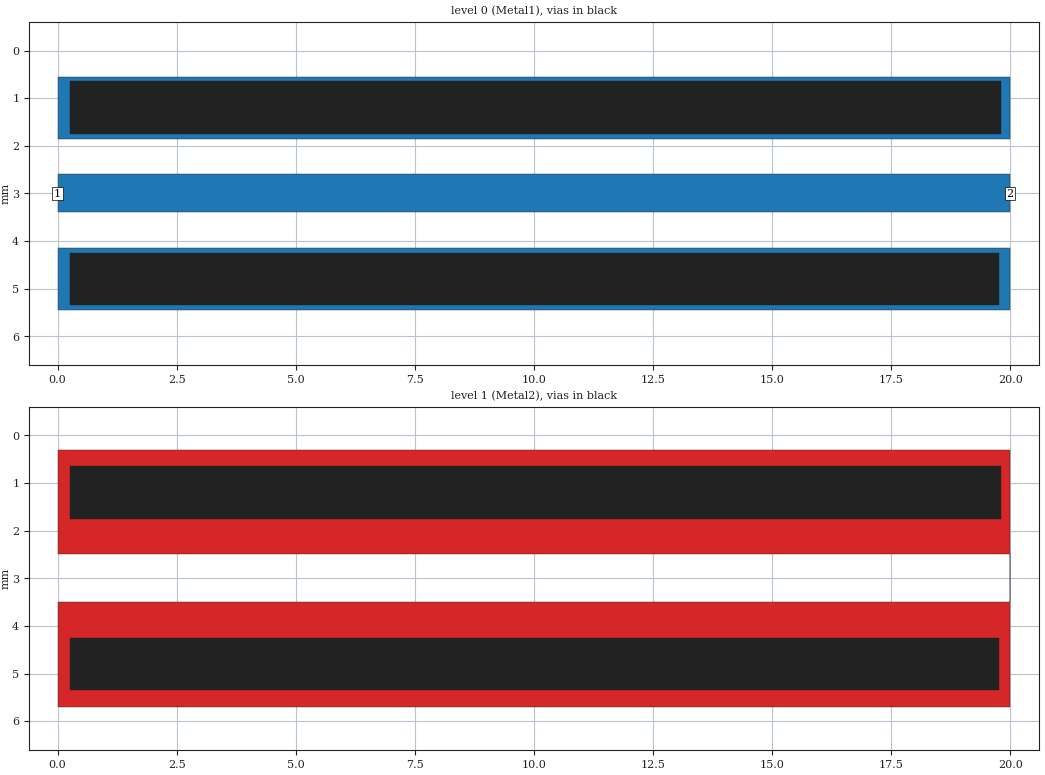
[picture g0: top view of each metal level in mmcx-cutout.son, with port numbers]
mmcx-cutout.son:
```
FTYP SONPROJ 17 ! Sonnet Project File
VER 17.52.2
HEADER
LIC antikernel2.1.48685 90e2ba8817c0 havequick azonenberg
DAT 06/01/2020 05:39:28
BUILT_BY_CREATED xgeom 16.56 07/03/2018 15:05:41
BUILT_BY_SAVED sonnet 17.52.2
MDATE 05/31/2020 14:00:10
HDATE 05/31/2020 14:00:10
END HEADER
DIM
ANG DEG
CAP PF
CON /OH
FREQ GHZ
IND NH
LNG MM
RES OH
END DIM
CONTROL
VARSWP
OPTIONS  -bdj
SPEED 1
CACHE_ABS 1
Q_ACC N
END CONTROL
GEO
SYM
TMET "Free Space" 0 FREESPACE 376.7303136 0 0 0
BMET "Lossless" 0 SUP 0 0 0 0
MET "Copper 1oz" 1 TMM 58000000 0.5 0.035 2
MET "Copper 0.5oz" 2 NOR 58000000 0.5 0.017 
BRI "Alumina (96%)" 0 9.4 0.0004 0 
BRI "Alumina (99.5%)" 0 9.9 0.0001 0 
BRI "Aluminum Nitride" 0 8.6 0.0003 0 
BRI "Arlon 25FR" 0 3.58 0.0035 0 
BRI "Arlon 25N" 0 3.38 0.0025 0 
BRI "Arlon AD5" 0 5.1 0.003 0 
BRI "Arlon AD10" 0 10.2 0.005 0 
BRI "Arlon AD250" 0 2.5 0.0018 0 
BRI "Arlon AD255A" 0 2.55 0.0015 0 
BRI "Arlon AD260A" 0 2.6 0.0018 0 
BRI "Arlon AD270" 0 2.7 0.0023 0 
BRI "Arlon AD300A" 0 3 0.002 0 
BRI "Arlon AD320A" 0 3.2 0.0032 0 
BRI "Arlon AD350A" 0 3.5 0.003 0 
BRI "Arlon AD410" 0 4.1 0.003 0 
BRI "Arlon AD430" 0 4.3 0.003 0 
BRI "Arlon AD450" 0 4.5 0.0035 0 
BRI "Arlon AD600" 0 6.15 0.003 0 
BRI "Arlon AD1000" 0 10.2 0.0023 0 
BRI "Arlon AR1000" 0 9.8 0.003 0 
BRI "Arlon CLTE" 0 2.96 0.0023 0 
BRI "Arlon CLTE-AT" 0 3 0.0013 0 
BRI "Arlon CLTE-P" 0 2.94 0.0025 0 
BRI "Arlon CLTE-XT" 0 2.94 0.0012 0 
BRI "Arlon Cu 217LX" 0 2.17 0.0009 0 
BRI "Arlon Cu 233LX" 0 2.33 0.0013 0 
BRI "Arlon Cu 250GT" 0 2.5 0.001 0 
BRI "Arlon Cu 250GX" 0 2.5 0.0018 0 
BRI "Arlon Cu 6250" 0 2.32 0.0013 0 
BRI "Arlon Cu 6700" 0 2.35 0.0025 0 
BRI "Arlon Di 522" 0 2.5 0.001 0 
BRI "Arlon Di 527" 0 2.5 0.0018 0 
BRI "Arlon Di 870" 0 2.33 0.0013 0 
BRI "Arlon Di 880" 0 2.17 0.0009 0 
BRI "Arlon Iso 917" 0 2.17 0.0013 0 
BRI "Arlon Iso 933" 0 2.33 0.0016 0 
BRI "Arlon Multi HF" 0 3.7 0.004 0 
BRI "Arlon TC350" 0 3.5 0.002 0 
BRI "Arlon TC600" 0 6.15 0.002 0 
BRI "Beryllia (99.5%)" 0 6.5 0.0004 0 
BRI "CEM-1" 0 4.5 0.02 0 
BRI "CEM-3" 0 4.5 0.02 0 
BRI "Dupont 9K7" 0 7.1 0.0012 0 
BRI "Dupont 943" 0 7.4 0.002 0 
BRI "Dupont 951" 0 7.8 0.006 0 
BRI "Dupont FEP" 0 2 0.0005 0 
BRI "Dupont Vacrel" 0 3.8 0.011 0 
BRI "ESL 41010" 0 7.5 0.005 0 
BRI "ESL 41020" 0 7.25 0.005 0 
BRI "ESL 41050" 0 13.5 0.002 0 
BRI "ESL 41060" 0 16.5 0.002 0 
BRI "ESL 41110" 0 4.5 0.004 0 
BRI "Ferro A6M" 0 5.9 0.002 0 
BRI "Ferro A6S" 0 5.9 0.002 0 
BRI "Ferro L8" 0 7.3 0.0018 0 
BRI "FR-4" 0 4.4 0.02 0 
BRI "G-10" 0 4.8 0.025 0 
BRI "Gallium Arsenide" 0 12.9 0.006 0 
BRI "Gallium Nitride" 0 9.7 0 0 
BRI "Glass (Pyrex)" 0 4.82 0.0054 0 
BRI "Heraeus HL2000" 0 7.3 0.0026 0 
BRI "Isola 370HR" 0 4.04 0.021 0 
BRI "Isola FR408" 0 3.77 0.0116 0 
BRI "Isola FR408HR" 0 3.68 0.0092 0 
BRI "Isola Getek" 0 3.6 0.01 0 
BRI "Isola GI-180" 0 3.7 0.013 0 
BRI "Isola IS415" 0 3.82 0.0125 0 
BRI "Isola IS620i" 0 3.58 0.006 0 
BRI "Isola IS680-280" 0 2.8 0.0025 0 
BRI "Isola IS680-300" 0 3 0.003 0 
BRI "Isola IS680-320" 0 3.2 0.003 0 
BRI "Isola IS680-333" 0 3.33 0.003 0 
BRI "Isola IS680-338" 0 3.38 0.0032 0 
BRI "Isola IS680-345" 0 3.45 0.0036 0 
BRI "Kerafol CT800" 0 5.3 0.008 0 
BRI "Nelco MW9350" 0 3.7 0.004 0 
BRI "Nelco N4000-12" 0 3.7 0.008 0 
BRI "Nelco N4000-13" 0 3.7 0.009 0 
BRI "Nelco N4000-13SI" 0 3.2 0.007 0 
BRI "Nelco N4000-13EP" 0 3.7 0.008 0 
BRI "Nelco N4350-13RF" 0 3.5 0.0065 0 
BRI "Nelco N4380-13RF" 0 3.8 0.007 0 
BRI "Nelco N9300-13RF" 0 3 0.004 0 
BRI "Nelco N9320-13RF" 0 3.2 0.0045 0 
BRI "Nelco N9338-13RF" 0 3.38 0.0046 0 
BRI "Nelco N9350-13RF" 0 3.48 0.0055 0 
BRI "Nelco NH9294" 0 2.94 0.0022 0 
BRI "Nelco NH9300" 0 3 0.0023 0 
BRI "Nelco NH9320" 0 3.2 0.0024 0 
BRI "Nelco NH9338" 0 3.38 0.0025 0 
BRI "Nelco NH9348" 0 3.48 0.003 0 
BRI "Nelco NH9350" 0 3.5 0.003 0 
BRI "Nelco NH9410" 0 4.1 0.003 0 
BRI "Nelco NH9450" 0 4.5 0.003 0 
BRI "Nelco NX9240" 0 2.4 0.0016 0 
BRI "Nelco NX9245" 0 2.45 0.0016 0 
BRI "Nelco NX9250" 0 2.5 0.0017 0 
BRI "Nelco NX9255" 0 2.55 0.0018 0 
BRI "Nelco NX9260" 0 2.6 0.0019 0 
BRI "Nelco NY9208" 0 2.08 0.0006 0 
BRI "Nelco NY9217" 0 2.17 0.0008 0 
BRI "Nelco NY9220" 0 2.2 0.0009 0 
BRI "Nelco NY9233" 0 2.33 0.0011 0 
BRI "PET" 0 3.37 0.0208 0 
BRI "Polyimide" 0 3.5 0.003 0 
BRI "Quartz (Fused)" 0 3.78 0.0001 0 
BRI "Rogers 3001" 0 2.28 0.003 0 
BRI "Rogers RO2808" 0 7.6 0.0015 0 
BRI "Rogers RO3003" 0 3 0.0013 0 
BRI "Rogers RO3006" 0 6.5 0.002 0 
BRI "Rogers RO3010" 0 11.2 0.0022 0 
BRI "Rogers RO3035" 0 3.6 0.0018 0 
BRI "Rogers RO3203" 0 3.02 0.0016 0 
BRI "Rogers RO3206" 0 6.6 0.0027 0 
BRI "Rogers RO3210" 0 10.8 0.0027 0 
BRI "Rogers RO3730" 0 3 0.0016 0 
BRI "Rogers RO4003C" 0 3.55 0.0029 0 
BRI "Rogers RO4533" 0 3.45 0.0029 0 
BRI "Rogers RO4534" 0 3.4 0.003 0 
BRI "Rogers RO4350B" 0 3.66 0.0037 0 
BRI "Rogers RO4350BTX" 0 3.66 0.0034 0 
BRI "Rogers RO4360" 0 6.15 0.0038 0 
BRI "Rogers RO4450B-3.6" 0 3.3 0.0043 0 
BRI "Rogers RO4450B-4" 0 3.54 0.004 0 
BRI "Rogers RO4450F" 0 3.52 0.0041 0 
BRI "Rogers RO4730" 0 3 0.0033 0 
BRI "Rogers RT5870" 0 2.33 0.0012 0 
BRI "Rogers RT5880" 0 2.2 0.0009 0 
BRI "Rogers RT5880LZ" 0 1.96 0.0019 0 
BRI "Rogers RT6002" 0 2.94 0.0012 0 
BRI "Rogers RT6006" 0 6.15 0.0027 0 
BRI "Rogers RT6010LM" 0 10.9 0.0023 0 
BRI "Rogers RT6035HTC" 0 3.6 0.0013 0 
BRI "Rogers RT6202" 0 2.94 0.0015 0 
BRI "Rogers RT6202PR" 0 2.95 0.0015 0 
BRI "Rogers Syron7000" 0 3.4 0.0045 0 
BRI "Rogers Syron7100-2" 0 3.61 0.006 0 
BRI "Rogers Syron7100-4" 0 3.39 0.005 0 
BRI "Rogers Theta" 0 4.01 0.0118 0 
BRI "Rogers TMM 3" 0 3.39 0.002 0 
BRI "Rogers TMM 4" 0 4.5 0.002 0 
BRI "Rogers TMM 6" 0 6 0.0023 0 
BRI "Rogers TMM 10" 0 9.56 0.0022 0 
BRI "Rogers TMM 10i" 0 9.96 0.002 0 
BRI "Rogers UL2000" 0 2.5 0.0019 0 
BRI "Rogers UL3850" 0 3.05 0.0025 0 
BRI "Rogers UL3908" 0 2.9 0.0025 0 
BRI "Rogers XT8000" 0 3.34 0.0035 0 
BRI "Rogers XT8100-2" 0 3.54 0.0049 0 
BRI "Rogers XT8100-4" 0 3.32 0.0038 0 
BRI "Silicon (intrinsic)" 0 11.9 0.004 0.00044 
BRI "Silicon Dioxide" 0 3.9 0 0 
BRI "Silicon Nitride" 0 7.5 0 0 
BRI "Taconic CER-10" 0 10 0.0035 0 
BRI "Taconic FastFilm" 0 2.7 0.0012 0 
BRI "Taconic Fastrise-DS" 0 2.96 0.0018 0 
BRI "Taconic Fastrise27" 0 2.7 0.0014 0 
BRI "Taconic Fastrise77" 0 7.7 0.0034 0 
BRI "Taconic FEP" 0 2 0.0003 0 
BRI "Taconic RF-30" 0 3 0.0014 0 
BRI "Taconic RF-35" 0 3.5 0.0018 0 
BRI "Taconic RF-35A2" 0 3.5 0.0011 0 
BRI "Taconic RF-35P" 0 3.5 0.0025 0 
BRI "Taconic RF-41" 0 4.1 0.0038 0 
BRI "Taconic RF-43" 0 4.3 0.0033 0 
BRI "Taconic RF-45" 0 4.5 0.0037 0 
BRI "Taconic RF-60A" 0 6.15 0.0038 0 
BRI "Taconic RF-301" 0 2.97 0.0012 0 
BRI "Taconic TacBond HT" 0 2.35 0.0025 0 
BRI "Taconic TLA-6" 0 2.62 0.0012 0 
BRI "Taconic TLC-27" 0 2.75 0.003 0 
BRI "Taconic TLC-30" 0 3 0.003 0 
BRI "Taconic TLC-32" 0 3.2 0.003 0 
BRI "Taconic TLE-95" 0 2.95 0.0028 0 
BRI "Taconic TLF-34" 0 3.4 0.002 0 
BRI "Taconic TLF-35" 0 3.5 0.002 0 
BRI "Taconic TLP-3" 0 2.33 0.0009 0 
BRI "Taconic TLP-5" 0 2.2 0.0009 0 
BRI "Taconic TLP-5A" 0 2.17 0.0009 0 
BRI "Taconic TLT-0" 0 2.45 0.0006 0 
BRI "Taconic TLT-9" 0 2.5 0.0006 0 
BRI "Taconic TLT-8" 0 2.55 0.0006 0 
BRI "Taconic TLT-7" 0 2.6 0.0006 0 
BRI "Taconic TLT-6" 0 2.65 0.0006 0 
BRI "Taconic TLX-0" 0 2.45 0.0019 0 
BRI "Taconic TLX-9" 0 2.5 0.0019 0 
BRI "Taconic TLX-8" 0 2.55 0.0019 0 
BRI "Taconic TLX-7" 0 2.6 0.0019 0 
BRI "Taconic TLX-6" 0 2.65 0.0019 0 
BRI "Taconic TLY-3" 0 2.33 0.0009 0 
BRI "Taconic TLY-3F" 0 2.33 0.0009 0 
BRI "Taconic TLY-5" 0 2.2 0.0009 0 
BRI "Taconic TLY-5-L" 0 2.2 0.0009 0 
BRI "Taconic TLY-5A" 0 2.17 0.0009 0 
BRI "Taconic TLY-5A-L" 0 2.17 0.0009 0 
BRI "Taconic TPG-30" 0 3 0.0038 0 
BRI "Taconic TPG-32" 0 3.2 0.005 0 
BRI "Taconic TPG-35" 0 3.5 0.005 0 
BRI "Taconic TRF-41" 0 4.1 0.0035 0 
BRI "Taconic TRF-43" 0 4.3 0.0035 0 
BRI "Taconic TRF-45" 0 4.5 0.0035 0 
BRI "Taconic TSM-DS" 0 2.85 0.001 0 
BRI "Taconic TSM-DS3" 0 3 0.0011 0 
BRI "Taconic TSM-26" 0 2.6 0.0014 0 
BRI "Taconic TSM-29" 0 2.94 0.0013 0 
BRI "Taconic TSM-30" 0 3 0.0013 0 
BRI "Teflon (PTFE)" 0 2.08 0.0004 0 
BOX 2 20 6 400 1200 20 0
      5 1 1 0 0 0 0 "Air"
      0.16 3.6 1 0.0092 0 0 0 "Isola FR408HR"
      1 3.6 1 0.0092 0 0 0 "Isola FR408HR"
TECHLAY METAL Metal1 <UNSPECIFIED> -2 0 
0 0 0 N 0 1 1 100 100 0 0 0 Y
END
END
TECHLAY METAL Metal2 <UNSPECIFIED> -3 0 
1 0 1 N 0 1 1 100 100 0 0 0 Y
END
END
VALVAR TRACE LNG 0.5 "Dim. Param."
VALVAR TAPER LNG 3.25 "Dim. Param."
VALVAR CUTOUT LNG 1 "Dim. Param."
VALVAR WIDTH LNG 0.8 "Dim. Param."
DIM STD YDIR 1
POS -0.1988065702 0.4153851022
NOM 0.75
REF1 POLY 3944 1
2
REF2 POLY 3943 1
0
END
DIM STD YDIR -1
POS -0.1174329343 -0.3362071828
NOM 0.75
REF1 POLY 3944 1
1
REF2 POLY 3942 1
3
END
DIM STD YDIR -1
POS -0.208769661 -0.4571149183
NOM 1.3
REF1 POLY 3942 1
3
REF2 POLY 3942 1
0
END
DIM STD YDIR -1
POS -0.208769661 -0.4571149183
NOM 1.3
REF1 POLY 3943 1
3
REF2 POLY 3943 1
0
END
LORGN 0 250 U 
POR1 BOX
POLY 3944 1
1
1 50 0 0 0 0 3 
POR1 BOX
POLY 3944 1
3
2 50 0 0 0 20 3 
NUM 6
0 5 0 N 3942 1 1 100 100 0 0 0 Y
TLAYNAM Metal1 INH
0 0.55
20 0.55
20 1.85
0 1.85
0 0.55
END
0 5 0 N 3943 1 1 100 100 0 0 0 Y
TLAYNAM Metal1 INH
-1.665334537e-16 4.15
20 4.15
20 5.45
-1.665334537e-16 5.45
-1.665334537e-16 4.15
END
0 5 0 N 3944 1 1 100 100 0 0 0 Y
TLAYNAM Metal1 INH
20 2.6
0 2.6
0 3.4
20 3.4
20 2.6
END
VIA POLYGON
0 5 -1 N 3947 1 1 100 100 0 0 0 Y
TOLEVEL 1 RING NOCOVERS
0.25 0.65
19.8 0.65
19.8 1.75
0.25 1.75
0.25 0.65
END
VIA POLYGON
0 5 -1 N 3948 1 1 100 100 0 0 0 Y
TOLEVEL 1 RING NOCOVERS
0.25 4.25
19.775 4.25
19.775 5.35
0.25 5.35
0.25 4.25
END
1 9 1 N 3951 1 1 100 100 0 0 0 Y
TLAYNAM Metal2 INH
20 0.3
0 0.3
0 2.5
20 2.5
20 3.5
0 3.5
0 5.7
20 5.7
20 0.3
END
END GEO
OPT
MAX 100
END OPT
VARSWP
SWPVARS ON
ENABLED Y
FREQ N AN SWEEP 3.0 5.0 0.05
FREQ Y AY ABS_ENTRY 0.1 6.0 -1 300 
VAR CUTOUT N 0.6 1.2 0.2
VAR WIDTH N 0.4 1.0 0.2
END
END VARSWP
3DOPTIONS
GLOBAL 1
ALL 3 1
END 3DOPTIONS
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```
